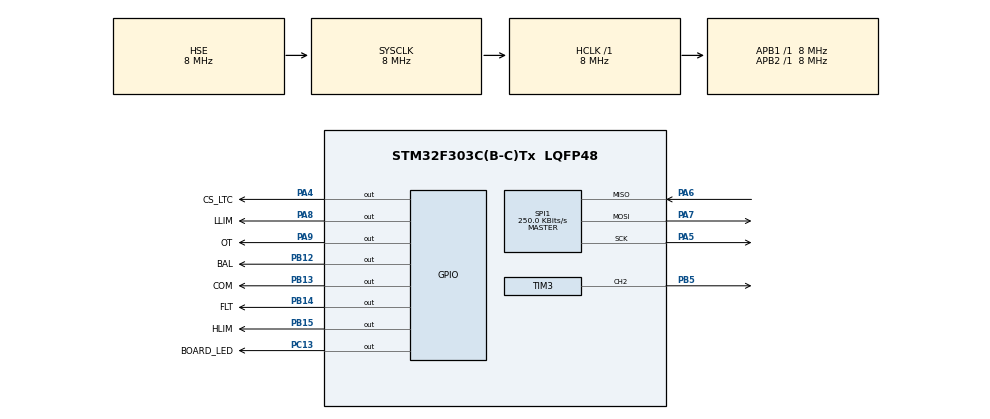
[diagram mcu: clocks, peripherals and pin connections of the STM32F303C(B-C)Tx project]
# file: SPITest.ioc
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Mcu.Family=STM32F3
Mcu.Name=STM32F303C(B-C)Tx
Mcu.Package=LQFP48
NVIC.PriorityGroup=NVIC_PRIORITYGROUP_4
PA13.Mode=Trace_Asynchronous_SW
PA13.Signal=SYS_JTMS-SWDIO
PA14.Mode=Trace_Asynchronous_SW
PA14.Signal=SYS_JTCK-SWCLK
PA4.GPIO_Label=CS_LTC
PA4.PinState=GPIO_PIN_SET
PA4.Signal=GPIO_Output
PA5.Mode=Full_Duplex_Master
PA5.Signal=SPI1_SCK
PA6.Mode=Full_Duplex_Master
PA6.Signal=SPI1_MISO
PA7.Mode=Full_Duplex_Master
PA7.Signal=SPI1_MOSI
PA8.GPIO_Label=LLIM
PA8.Signal=GPIO_Output
PA9.GPIO_Label=OT
PA9.Signal=GPIO_Output
PB12.GPIO_Label=BAL
PB12.Signal=GPIO_Output
PB13.GPIO_Label=COM
PB13.Signal=GPIO_Output
PB14.GPIO_Label=FLT
PB14.Signal=GPIO_Output
PB15.GPIO_Label=HLIM
PB15.Signal=GPIO_Output
PB3.Mode=Trace_Asynchronous_SW
PB3.Signal=SYS_JTDO-TRACESWO
PB5.Signal=S_TIM3_CH2
PC13.GPIO_Label=BOARD_LED
PC13.GPIO_ModeDefaultOutputPP=GPIO_MODE_OUTPUT_OD
PC13.Signal=GPIO_Output
PC14-OSC32_IN.Mode=LSE-External-Oscillator
PC14-OSC32_IN.Signal=RCC_OSC32_IN
PC15-OSC32_OUT.Mode=LSE-External-Oscillator
PC15-OSC32_OUT.Signal=RCC_OSC32_OUT
PF0-OSC_IN.Mode=HSE-External-Oscillator
PF0-OSC_IN.Signal=RCC_OSC_IN
PF1-OSC_OUT.Mode=HSE-External-Oscillator
PF1-OSC_OUT.Signal=RCC_OSC_OUT
ProjectManager.HeapSize=0x200
ProjectManager.StackSize=0x400
ProjectManager.TargetToolchain=STM32CubeIDE
RCC.AHBFreq_Value=8000000
RCC.APB1Freq_Value=8000000
RCC.APB1TimFreq_Value=8000000
RCC.APB2Freq_Value=8000000
RCC.APB2TimFreq_Value=8000000
RCC.CortexFreq_Value=8000000
RCC.EnbaleCSS=true
RCC.HCLKFreq_Value=8000000
RCC.HSE_VALUE=8000000
RCC.HSI_VALUE=8000000
RCC.PLLSourceVirtual=RCC_PLLSOURCE_HSE
RCC.SYSCLKFreq_VALUE=8000000
RCC.SYSCLKSourceVirtual=RCC_SYSCLKSOURCE_HSE
RCC.USBFreq_Value=16000000
SH.S_TIM3_CH2.0=TIM3_CH2,PWM Generation2 CH2
SPI1.BaudRatePrescaler=SPI_BAUDRATEPRESCALER_32
SPI1.CLKPhase=SPI_PHASE_2EDGE
SPI1.CLKPolarity=SPI_POLARITY_HIGH
SPI1.CRCCalculation=SPI_CRCCALCULATION_DISABLE
SPI1.CalculateBaudRate=250.0 KBits/s
SPI1.DataSize=SPI_DATASIZE_8BIT
SPI1.Direction=SPI_DIRECTION_2LINES
SPI1.FirstBit=SPI_FIRSTBIT_MSB
SPI1.Mode=SPI_MODE_MASTER
SPI1.VirtualType=VM_MASTER
TIM3.Channel-PWM\ Generation2\ CH2=TIM_CHANNEL_2
TIM3.Period=319
VP_TIM3_VS_ClockSourceINT.Mode=Internal
board=custom

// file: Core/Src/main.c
/* USER CODE BEGIN Header */
/**
 ******************************************************************************
 * @file           : main.c
 * @brief          : Main program body
 ******************************************************************************
 * @attention
 *
 * <h2><center>&copy; Copyright (c) 2020 STMicroelectronics.
 * All rights reserved.</center></h2>
 *
 * This software component is licensed by ST under BSD 3-Clause license,
 * the "License"; You may not use this file except in compliance with the
 * License. You may obtain a copy of the License at:
 *                        opensource.org/licenses/BSD-3-Clause
 *
 ******************************************************************************
 */

/* USER CODE END Header */
#include "main.h"

/* USER CODE BEGIN Includes */
#include <stdio.h>
#include "ltc6811_btm.h"
#include "ltc6811_btm_bal.h"
#include "control.h"

/* USER CODE END Includes */

SPI_HandleTypeDef hspi1;

TIM_HandleTypeDef htim3;

void SystemClock_Config(void);
static void MX_GPIO_Init(void);
static void MX_SPI1_Init(void);
static void MX_TIM3_Init(void);

int main(void)
{
  /* USER CODE BEGIN 1 */
	BTM_PackData_t pack;
	BTM_Status_t BTM_status = {BTM_OK, 0};
	uint8_t config_val[BTM_REG_GROUP_SIZE] =
	    {
	        0xF8 | (REFON << 2) | ADCOPT, // GPIO 1-5 = 1, REFON, ADCOPT
	        (VUV & 0xFF), // VUV[7:0]
	        ((uint8_t) (VOV << 4)) | (((uint8_t) (VUV >> 8)) & 0x0F), // VOV[4:0] | VUV[11:8]
	        (VOV >> 4), // VOV[11:5]
	        0x00, // Discharge off for cells 1 through 8
	        0x00  // Discharge off for cells 9 through 12, Discharge timer disabled
	    };

	uint8_t register_readout[BTM_NUM_DEVICES][6] = {{0}};
	BTM_BAL_dch_setting_pack_t dch_pack1, dch_pack2;
  /* USER CODE END 1 */

  /* MCU Configuration--------------------------------------------------------*/

  /* Reset of all peripherals, Initializes the Flash interface and the Systick. */
  HAL_Init();

  /* Configure the system clock */
  SystemClock_Config();

  /* Initialize all configured peripherals */
  MX_GPIO_Init();
  MX_SPI1_Init();
  MX_TIM3_Init();
  /* USER CODE BEGIN 2 */

	// Specify the SPI resources for the BTM library
	BTM_SPI_handle = &hspi1;
	// Specify the TIM resources for the CONT driver
	CONT_timer_handle = &htim3;

	// The Board LED is on when PA13 is LOW, so set pin high at beginning
	HAL_GPIO_WritePin(BOARD_LED_GPIO_Port, BOARD_LED_Pin, GPIO_PIN_SET);

	printf("LTC TEST\n");
	BTM_init(&pack);
	CONT_init();

	BTM_status = BTM_readRegisterGroup(CMD_RDCFGA, register_readout);
	if (BTM_status.error == BTM_OK)
		printf("Read config register success\n");
	else
		printf("Read config register failed at device %d\n", BTM_status.device_num);

	// compare read config to set config
	printf("Configuration:\nWritten\tRead\n");
	for(int i = 0; i < 6; i++) {
		printf("%X\t\t%X\n", config_val[i], register_readout[0][i]);
	}
	putchar('\n');

	// Test BTM_BAL functions written so far
    BTM_BAL_initDchPack(&dch_pack1);
    BTM_BAL_initDchPack(&dch_pack2);
    pack.stack[2].module[4].enable = MODULE_DISABLED; // for 3 stack test w/o 6811 dev board
    for(int ic_num = 0; ic_num < BTM_NUM_DEVICES; ic_num++)
    {
        for(int mod_num = 0; mod_num < BTM_NUM_MODULES; mod_num++)
        {
            switch(ic_num)
            {
            case 0:
                dch_pack1.stack[ic_num].module_dch[mod_num] = (0x55 >> mod_num) & 1;
                break;
            case 1:
                dch_pack1.stack[ic_num].module_dch[mod_num] = (0x2AA >> mod_num) & 1;
                break;
            default:
                dch_pack1.stack[ic_num].module_dch[mod_num] = (0xB38 >> mod_num) & 1;
                break;
            }
        }
    }

    BTM_BAL_setDischarge(&pack, &dch_pack1); // Don't run with dev board on
    BTM_BAL_copyDchPack(&dch_pack1, &dch_pack2);
  /* USER CODE END 2 */

  /* Infinite loop */
  /* USER CODE BEGIN WHILE */
	while (1)
	{
		HAL_GPIO_WritePin(BOARD_LED_GPIO_Port, BOARD_LED_Pin, GPIO_PIN_RESET);
		BTM_status = BTM_readBatt(&pack);
		HAL_GPIO_WritePin(BOARD_LED_GPIO_Port, BOARD_LED_Pin, GPIO_PIN_SET);

		for (int ic_num = 0; ic_num < BTM_NUM_DEVICES; ic_num++)
		{
			printf("IC #%d\n", ic_num);
			printf(
					"C0\t\tC1\t\tC2\t\tC3\t\tC4\t\tC5\t\tC6\t\tC7\t\tC8\t\tC9\t\tC10\t\tC11\n");
			for (int cell = 0; cell < 12; cell++)
			{
				printf("%.4f\t", BTM_regValToVoltage(pack.stack[ic_num].module[cell].voltage));
			}
			printf("\n");
			switch (BTM_status.error)
			{
			case BTM_OK:
				printf("BTM OK\n");
				break;
			case BTM_ERROR_TIMEOUT:
				printf("TIMEOUT ERROR at device %d\n", BTM_status.device_num);
				break;
			case BTM_ERROR_PEC:
				printf("PEC ERROR at device %d\n", BTM_status.device_num);
				break;
			default:
				break;
			}
		}
		putchar('\n');

		// Test CONT functions
		HAL_Delay(50);
		CONT_BAL_switch(CONT_ACTIVE);
		CONT_FAN_PWM_set(17);
		HAL_Delay(50);
        CONT_BAL_switch(CONT_INACTIVE);
        CONT_COM_switch(CONT_ACTIVE);
        CONT_FAN_PWM_set(34);
        HAL_Delay(50);
        CONT_COM_switch(CONT_INACTIVE);
        CONT_FLT_switch(CONT_ACTIVE);
        CONT_FAN_PWM_set(51);
        HAL_Delay(50);
        CONT_FLT_switch(CONT_INACTIVE);
        CONT_HLIM_switch(CONT_ACTIVE);
        CONT_FAN_PWM_set(68);
        HAL_Delay(50);
        CONT_HLIM_switch(CONT_INACTIVE);
        CONT_LLIM_switch(CONT_ACTIVE);
        CONT_FAN_PWM_set(85);
        HAL_Delay(50);
        CONT_LLIM_switch(CONT_INACTIVE);
        CONT_OT_switch(CONT_ACTIVE);
        CONT_FAN_PWM_set(100);
        HAL_Delay(50);
        CONT_OT_switch(CONT_INACTIVE);
        CONT_FAN_PWM_set(0);
		HAL_Delay(650);

    /* USER CODE END WHILE */

	}
}

void SystemClock_Config(void)
{
  RCC_OscInitTypeDef RCC_OscInitStruct = {0};
  RCC_ClkInitTypeDef RCC_ClkInitStruct = {0};

  /** Initializes the RCC Oscillators according to the specified parameters
  * in the RCC_OscInitTypeDef structure.
  */
  RCC_OscInitStruct.OscillatorType = RCC_OSCILLATORTYPE_HSE;
  RCC_OscInitStruct.HSEState = RCC_HSE_ON;
  RCC_OscInitStruct.HSIState = RCC_HSI_ON;
  RCC_OscInitStruct.PLL.PLLState = RCC_PLL_NONE;
  if (HAL_RCC_OscConfig(&RCC_OscInitStruct) != HAL_OK)
  {
    Error_Handler();
  }
  /** Initializes the CPU, AHB and APB buses clocks
  */
  RCC_ClkInitStruct.ClockType = RCC_CLOCKTYPE_HCLK|RCC_CLOCKTYPE_SYSCLK
                              |RCC_CLOCKTYPE_PCLK1|RCC_CLOCKTYPE_PCLK2;
  RCC_ClkInitStruct.SYSCLKSource = RCC_SYSCLKSOURCE_HSE;
  RCC_ClkInitStruct.AHBCLKDivider = RCC_SYSCLK_DIV1;
  RCC_ClkInitStruct.APB1CLKDivider = RCC_HCLK_DIV1;
  RCC_ClkInitStruct.APB2CLKDivider = RCC_HCLK_DIV1;

  if (HAL_RCC_ClockConfig(&RCC_ClkInitStruct, FLASH_LATENCY_0) != HAL_OK)
  {
    Error_Handler();
  }
  /** Enables the Clock Security System
  */
  HAL_RCC_EnableCSS();
}

static void MX_SPI1_Init(void)
{

  /* SPI1 parameter configuration*/
  hspi1.Instance = SPI1;
  hspi1.Init.Mode = SPI_MODE_MASTER;
  hspi1.Init.Direction = SPI_DIRECTION_2LINES;
  hspi1.Init.DataSize = SPI_DATASIZE_8BIT;
  hspi1.Init.CLKPolarity = SPI_POLARITY_HIGH;
  hspi1.Init.CLKPhase = SPI_PHASE_2EDGE;
  hspi1.Init.NSS = SPI_NSS_SOFT;
  hspi1.Init.BaudRatePrescaler = SPI_BAUDRATEPRESCALER_32;
  hspi1.Init.FirstBit = SPI_FIRSTBIT_MSB;
  hspi1.Init.TIMode = SPI_TIMODE_DISABLE;
  hspi1.Init.CRCCalculation = SPI_CRCCALCULATION_DISABLE;
  hspi1.Init.CRCPolynomial = 7;
  hspi1.Init.CRCLength = SPI_CRC_LENGTH_DATASIZE;
  hspi1.Init.NSSPMode = SPI_NSS_PULSE_DISABLE;
  if (HAL_SPI_Init(&hspi1) != HAL_OK)
  {
    Error_Handler();
  }

}

static void MX_TIM3_Init(void)
{

  TIM_ClockConfigTypeDef sClockSourceConfig = {0};
  TIM_MasterConfigTypeDef sMasterConfig = {0};
  TIM_OC_InitTypeDef sConfigOC = {0};

  htim3.Instance = TIM3;
  htim3.Init.Prescaler = 0;
  htim3.Init.CounterMode = TIM_COUNTERMODE_UP;
  htim3.Init.Period = 319;
  htim3.Init.ClockDivision = TIM_CLOCKDIVISION_DIV1;
  htim3.Init.AutoReloadPreload = TIM_AUTORELOAD_PRELOAD_DISABLE;
  if (HAL_TIM_Base_Init(&htim3) != HAL_OK)
  {
    Error_Handler();
  }
  sClockSourceConfig.ClockSource = TIM_CLOCKSOURCE_INTERNAL;
  if (HAL_TIM_ConfigClockSource(&htim3, &sClockSourceConfig) != HAL_OK)
  {
    Error_Handler();
  }
  if (HAL_TIM_PWM_Init(&htim3) != HAL_OK)
  {
    Error_Handler();
  }
  sMasterConfig.MasterOutputTrigger = TIM_TRGO_RESET;
  sMasterConfig.MasterSlaveMode = TIM_MASTERSLAVEMODE_DISABLE;
  if (HAL_TIMEx_MasterConfigSynchronization(&htim3, &sMasterConfig) != HAL_OK)
  {
    Error_Handler();
  }
  sConfigOC.OCMode = TIM_OCMODE_PWM1;
  sConfigOC.Pulse = 0;
  sConfigOC.OCPolarity = TIM_OCPOLARITY_HIGH;
  sConfigOC.OCFastMode = TIM_OCFAST_DISABLE;
  if (HAL_TIM_PWM_ConfigChannel(&htim3, &sConfigOC, TIM_CHANNEL_2) != HAL_OK)
  {
    Error_Handler();
  }
  HAL_TIM_MspPostInit(&htim3);

}

static void MX_GPIO_Init(void)
{
  GPIO_InitTypeDef GPIO_InitStruct = {0};

  /* GPIO Ports Clock Enable */
  __HAL_RCC_GPIOC_CLK_ENABLE();
  __HAL_RCC_GPIOF_CLK_ENABLE();
  __HAL_RCC_GPIOA_CLK_ENABLE();
  __HAL_RCC_GPIOB_CLK_ENABLE();

  /*Configure GPIO pin Output Level */
  HAL_GPIO_WritePin(BOARD_LED_GPIO_Port, BOARD_LED_Pin, GPIO_PIN_RESET);

  /*Configure GPIO pin Output Level */
  HAL_GPIO_WritePin(CS_LTC_GPIO_Port, CS_LTC_Pin, GPIO_PIN_SET);

  /*Configure GPIO pin Output Level */
  HAL_GPIO_WritePin(GPIOB, BAL_Pin|COM_Pin|FLT_Pin|HLIM_Pin, GPIO_PIN_RESET);

  /*Configure GPIO pin Output Level */
  HAL_GPIO_WritePin(GPIOA, LLIM_Pin|OT_Pin, GPIO_PIN_RESET);

  /*Configure GPIO pin : BOARD_LED_Pin */
  GPIO_InitStruct.Pin = BOARD_LED_Pin;
  GPIO_InitStruct.Mode = GPIO_MODE_OUTPUT_OD;
  GPIO_InitStruct.Pull = GPIO_NOPULL;
  GPIO_InitStruct.Speed = GPIO_SPEED_FREQ_LOW;
  HAL_GPIO_Init(BOARD_LED_GPIO_Port, &GPIO_InitStruct);

  /*Configure GPIO pins : CS_LTC_Pin LLIM_Pin OT_Pin */
  GPIO_InitStruct.Pin = CS_LTC_Pin|LLIM_Pin|OT_Pin;
  GPIO_InitStruct.Mode = GPIO_MODE_OUTPUT_PP;
  GPIO_InitStruct.Pull = GPIO_NOPULL;
  GPIO_InitStruct.Speed = GPIO_SPEED_FREQ_LOW;
  HAL_GPIO_Init(GPIOA, &GPIO_InitStruct);

  /*Configure GPIO pins : BAL_Pin COM_Pin FLT_Pin HLIM_Pin */
  GPIO_InitStruct.Pin = BAL_Pin|COM_Pin|FLT_Pin|HLIM_Pin;
  GPIO_InitStruct.Mode = GPIO_MODE_OUTPUT_PP;
  GPIO_InitStruct.Pull = GPIO_NOPULL;
  GPIO_InitStruct.Speed = GPIO_SPEED_FREQ_LOW;
  HAL_GPIO_Init(GPIOB, &GPIO_InitStruct);

}

/* USER CODE BEGIN 4 */
int __io_putchar(int ch)
{
	ITM_SendChar(ch);
	return (ch);
}
/* USER CODE END 4 */

void Error_Handler(void)
{
}

/************************ (C) COPYRIGHT STMicroelectronics *****END OF FILE****/
